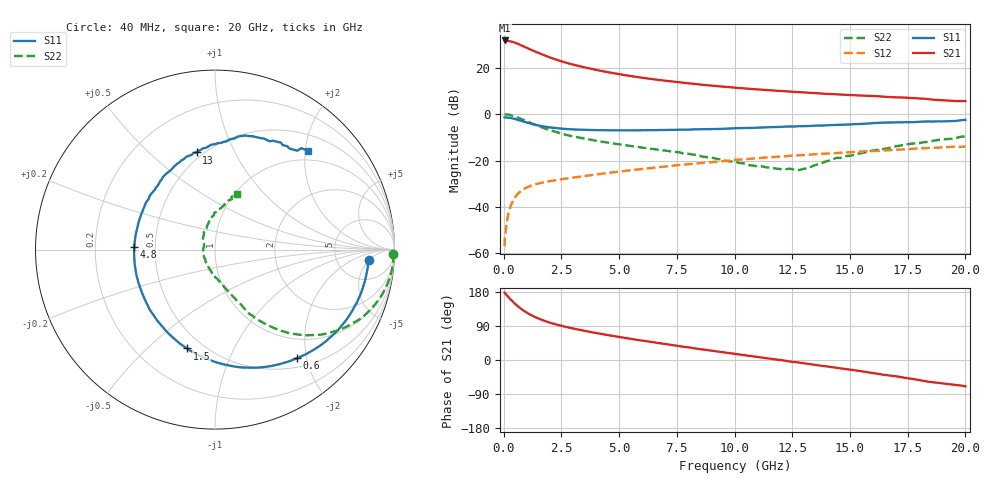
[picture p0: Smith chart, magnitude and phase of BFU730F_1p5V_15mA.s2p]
! Filename:  P:\Prog\Test\Noise\ATS_data\Testdata_Net\Split files Spar\BFU730_2W_B1_Bias7_1.5V_1mA_30mA_D.s2p
! Date/Time: Fri 29/Apr/2011 14:16:56
! BFU730_2W_B1_Bias7_1.5V_1mA_30mA_R.s2p
! MDIF S-parameter v. bias file
! BFU730_2W_B1_1.5V_1mA_30mA
! Date/time Thu Mar 17 13:45:32 2011
! VAR V_out= 1.5002
! VAR I_out= 14.9650
! VAR V_in= 0.8153
! VAR I_in= 0.0494
! Device data file deembeded for feedlines and parallel
! Original file: \Split files Spar\BFU730_2W_B1_Bias7_1.5V_1mA_30mA_R.s2p
! Feed-files: PR003V01_101208_Feed1.s2p, PR003V01_101208_Feed2.s2p
! Parallel-file: PR003V01_101208_Par.s2p
# MHz S MA R 50
!  Freq-MHz  S11-mag  S11-arg  S21-mag  S21-arg  S12-mag  S12-arg  S22-mag  S22-arg
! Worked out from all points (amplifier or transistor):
!   167 points, 40 MHz to 20 GHz, reference 50 ohm
!   highest |S21| = 31.8 dB at 50 MHz (marker M1)
!   |S21| within 3 dB of that: start of sweep to 961 MHz
!   unconditionally stable (mu >= 1): 4.942 GHz to 15.94 GHz
!   at 550 MHz: K = 0.17, MSG = 32.8 dB, |S12| = -35.1 dB
!   at 4.2 GHz: K = 0.94, MSG = 22.2 dB, |S12| = -25.7 dB
!   at 20 GHz: K = 0.88, MSG = 9.8 dB, |S12| = -14.0 dB
!   S11 on the Smith chart (normalised r, x): 40 MHz: 11, -5; 600 MHz: 0.64, -1.83; 1.5 GHz: 0.41, -0.67; 4.8 GHz: 0.38, +0.01; 13 GHz: 0.46, +0.72; 20 GHz: 0.80, +2.05
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40  0.8582 -3.7  38.77 177.4  0.001434 88.4  0.993 -1.4
50  0.8572 -5.3  38.86 176.3  0.002066 97.8  0.9928 -2.2
140  0.8523 -13.0  38.44 170.4  0.004966 84.3  0.9902 -7.4
240  0.8392 -22.3  37.79 163.6  0.008449 79.7  0.9729 -13.0
340  0.8224 -31.2  36.55 157.2  0.01172 75.2  0.9469 -18.2
460  0.7952 -41.7  35.14 150.1  0.01532 70.1  0.9075 -24.0
600  0.7585 -53.0  33.07 142.3  0.0189 64.8  0.8526 -30.0
800  0.7084 -67.6  29.94 132.9  0.02315 58.6  0.775 -37.2
1050  0.6501 -83.2  26.25 123.1  0.0271 53.0  0.6832 -44.2
1250  0.6116 -94.1  23.69 116.5  0.02959 49.8  0.6207 -48.5
1500  0.5724 -105.9  20.97 109.6  0.03209 46.9  0.5539 -52.6
1850  0.5324 -119.7  17.87 101.5  0.03502 44.2  0.4808 -57.1
2250  0.5019 -132.3  15.14 94.0  0.03796 42.5  0.4178 -60.9
2800  0.4766 -146.6  12.47 85.9  0.04177 41.1  0.3497 -64.2
3400  0.4619 -159.0  10.49 78.3  0.04591 40.4  0.3052 -67.1
4800  0.4504 178.2  7.586 62.7  0.05652 38.3  0.2328 -73.9
6800  0.4557 154.4  5.418 43.9  0.07285 33.6  0.1691 -84.5
10200  0.5017 123.4  3.684 14.6  0.105 21.2  0.08919 -122.6
13000  0.5508 100.6  2.947 -8.6  0.132 7.2  0.06652 158.7
13400  0.5618 98.2  2.862 -12.1  0.1365 5.0  0.07748 149.4
16800  0.6654 71.7  2.328 -41.4  0.1689 -14.1  0.1913 91.8
20000  0.7555 46.9  1.919 -69.5  0.2 -34.9  0.3322 68.3
